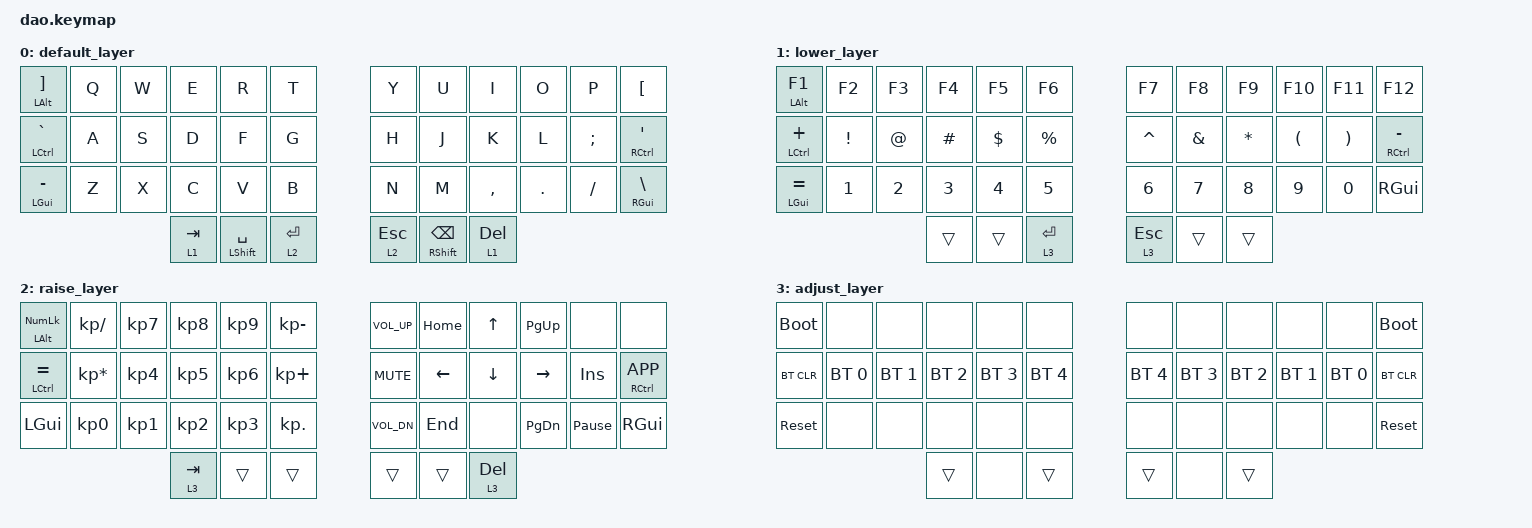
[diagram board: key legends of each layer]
/*
 * Copyright (c) 2021 Rafael Yumagulov
 *
 * SPDX-License-Identifier: MIT
 */

#include <behaviors.dtsi>
#include <dt-bindings/zmk/bt.h>
#include <dt-bindings/zmk/keys.h>

#define DEF 0
#define LWR 1
#define RSE 2
#define ADJ 3

&lt { quick_tap_ms = <200>; };

&mt { quick_tap_ms = <200>; };

/ {
    chosen {
        zmk,matrix_transform = &default_transform;

        // zmk,matrix_transform = &extra_keys_transform;
    };
};

/ {
    keymap {
        compatible = "zmk,keymap";

        default_layer {
            bindings = <
&mt LEFT_ALT RBKT   &kp Q  &kp W  &kp E      &kp R            &kp T        &kp Y      &kp U           &kp I      &kp O    &kp P     &kp LBKT
&mt LCTRL GRAVE     &kp A  &kp S  &kp D      &kp F            &kp G        &kp H      &kp J           &kp K      &kp L    &kp SEMI  &mt RCTRL SQT
&mt LEFT_GUI MINUS  &kp Z  &kp X  &kp C      &kp V            &kp B        &kp N      &kp M           &kp COMMA  &kp DOT  &kp FSLH  &mt RIGHT_GUI BSLH
                                  &lt 1 TAB  &mt LSHFT SPACE  &lt 2 ENTER  &lt 2 ESC  &mt RSHFT BSPC  &lt 1 DEL
            >;
        };

        lower_layer {
            bindings = <
&mt LEFT_ALT F1     &kp F2    &kp F3  &kp F4    &kp F5    &kp F6       &kp F7        &kp F8    &kp F9    &kp F10   &kp F11   &kp F12
&mt LCTRL PLUS      &kp EXCL  &kp AT  &kp HASH  &kp DLLR  &kp PRCNT    &kp CARET     &kp AMPS  &kp STAR  &kp LPAR  &kp RPAR  &mt RCTRL MINUS
&mt LEFT_GUI EQUAL  &kp N1    &kp N2  &kp N3    &kp N4    &kp N5       &kp N6        &kp N7    &kp N8    &kp N9    &kp N0    &kp RIGHT_GUI
                                      &trans    &trans    &lt 3 ENTER  &lt 3 ESCAPE  &trans    &trans
            >;
        };

        raise_layer {
            bindings = <
&mt LEFT_ALT KP_NUM  &kp KP_SLASH     &kp KP_N7  &kp KP_N8  &kp KP_N9  &kp KP_MINUS  &kp C_VOL_UP  &kp HOME  &kp UP        &kp PG_UP  &none            &none
&mt LCTRL EQUAL      &kp KP_MULTIPLY  &kp KP_N4  &kp KP_N5  &kp KP_N6  &kp KP_PLUS   &kp C_MUTE    &kp LEFT  &kp DOWN      &kp RIGHT  &kp INS          &mt RCTRL K_APP
&kp LEFT_GUI         &kp KP_N0        &kp KP_N1  &kp KP_N2  &kp KP_N3  &kp KP_DOT    &kp C_VOL_DN  &kp END   &none         &kp PG_DN  &kp PAUSE_BREAK  &kp RIGHT_GUI
                                                 &lt 3 TAB  &trans     &trans        &trans        &trans    &lt 3 DELETE
            >;
        };

        adjust_layer {
            bindings = <
&bootloader  &none         &none         &none         &none         &none         &none         &none         &none         &none         &none         &bootloader
&bt BT_CLR   &bt BT_SEL 0  &bt BT_SEL 1  &bt BT_SEL 2  &bt BT_SEL 3  &bt BT_SEL 4  &bt BT_SEL 4  &bt BT_SEL 3  &bt BT_SEL 2  &bt BT_SEL 1  &bt BT_SEL 0  &bt BT_CLR
&sys_reset   &none         &none         &none         &none         &none         &none         &none         &none         &none         &none         &sys_reset
                                         &trans        &none         &trans        &trans        &none         &trans
            >;
        };
    };
};
